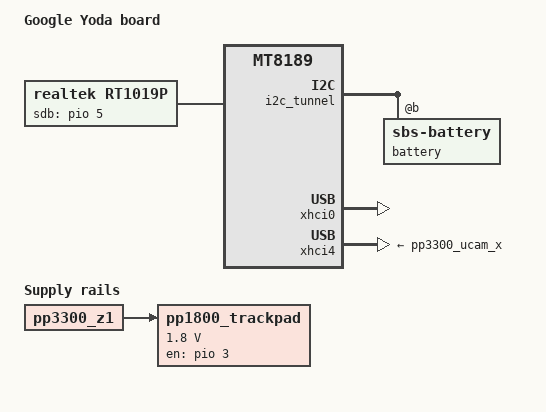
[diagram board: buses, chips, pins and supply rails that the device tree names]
// SPDX-License-Identifier: (GPL-2.0 OR MIT)
/*
 * Copyright (C) 2025 Google Inc.
 */
/dts-v1/;
#include "mt8189-skywalker.dtsi"

/ {
	model = "Google Yoda board";
	compatible = "google,yoda", "mediatek,mt8189";

	rt1019p: audio-codec {
		compatible = "realtek,rt1019p";
		label = "rt1019p";
		#sound-dai-cells = <0>;
		pinctrl-names = "default";
		pinctrl-0 = <&audio_spk_en_pins>;
		sdb-gpios = <&pio 5 GPIO_ACTIVE_HIGH>;
	};

	pp1800_trackpad: regulator-pp1800-trackpad {
		compatible = "regulator-fixed";
		regulator-name = "pp1800_trackpad";
		regulator-min-microvolt = <1800000>;
		regulator-max-microvolt = <1800000>;
		enable-active-high;
		gpio = <&pio 3 GPIO_ACTIVE_HIGH>;
		pinctrl-names = "default";
		pinctrl-0 = <&trackpad_pwr_pins>;
		vin-supply = <&pp3300_z1>;
	};
};

&ap_sar_sensor {
	semtech,ph0-pin = <1 3 3>;
	semtech,ph1-pin = <3 2 1>;
	semtech,ph2-pin = <3 3 1>;
	semtech,ph3-pin = <1 3 3>;
	semtech,ph01-resolution = <1024>;
	semtech,ph23-resolution = <1024>;
	semtech,input-analog-gain = <1>;
	semtech,startup-sensor = <1>;
	semtech,ph01-proxraw-strength = <3>;
	semtech,ph23-proxraw-strength = <2>;
	semtech,avg-pos-strength = <256>;
	semtech,int-comp-resistor = "lowest";
	semtech,input-precharge-resistor-ohms = <4000>;
	semtech,cs-idle-sleep = "hi-z";
};

&i2c_tunnel {
	battery: sbs-battery@b {
		sbs,i2c-retry-count = <10>;
		sbs,poll-retry-count = <10>;
	};
};

&keyboard_controller {
	keypad,num-columns = <18>;

	function-row-physmap = <
		MATRIX_KEY(0x00, 0x02, 0)		/* T1 */
		MATRIX_KEY(0x03, 0x02, 0)		/* T2 */
		MATRIX_KEY(0x02, 0x02, 0)		/* T3 */
		MATRIX_KEY(0x01, 0x02, 0)		/* T4 */
		MATRIX_KEY(0x04, 0x04, 0)		/* T5 */
		MATRIX_KEY(0x02, 0x04, 0)		/* T6 */
		MATRIX_KEY(0x01, 0x04, 0)		/* T7 */
		MATRIX_KEY(0x02, 0x0b, 0)		/* T8 */
		MATRIX_KEY(0x01, 0x09, 0)		/* T9 */
		MATRIX_KEY(0x00, 0x04, 0)		/* T10 */
		MATRIX_KEY(0x00, 0x01, 0)		/* T11 */
		MATRIX_KEY(0x01, 0x05, 0)		/* T12 */
		MATRIX_KEY(0x03, 0x05, 0)		/* T13 */
		MATRIX_KEY(0x00, 0x0b, 0)		/* T14 */
	>;

	linux,keymap = <
		CROS_TOP_ROW_KEYMAP_V30
		CROS_MAIN_KEYMAP_V30

		MATRIX_KEY(0x00, 0x02, KEY_BACK)		/* T1 */
		MATRIX_KEY(0x03, 0x02, KEY_REFRESH)		/* T2 */
		MATRIX_KEY(0x02, 0x02, KEY_ZOOM)		/* T3 */
		MATRIX_KEY(0x01, 0x02, KEY_SCALE)		/* T4 */
		MATRIX_KEY(0x04, 0x04, KEY_SYSRQ)		/* T5 */
		MATRIX_KEY(0x02, 0x04, KEY_BRIGHTNESSDOWN)	/* T6 */
		MATRIX_KEY(0x01, 0x04, KEY_BRIGHTNESSUP)	/* T7 */
		MATRIX_KEY(0x02, 0x0b, KEY_PLAYPAUSE)		/* T8 */
		MATRIX_KEY(0x01, 0x09, KEY_MICMUTE)		/* T9 */
		MATRIX_KEY(0x00, 0x04, KEY_MUTE)		/* T10 */
		MATRIX_KEY(0x00, 0x01, KEY_VOLUMEDOWN)		/* T11 */
		MATRIX_KEY(0x01, 0x05, KEY_VOLUMEUP)		/* T12 */
		MATRIX_KEY(0x03, 0x05, KEY_ACCESSIBILITY)	/* T13 */
		MATRIX_KEY(0x00, 0x0b, KEY_DICTATE)		/* T14 */
	>;
};

&dp_tx {
	phy-by-link-rate;
	phy-params = <0x221c1814 0x2725221c 0x00003028 0x0E080400 0x010B0600 0x00000008>;
	phy-params-hbr2 = <0x20181410 0x20241E18 0x00003028 0x10080400 0x000C0600 0x00000008>;
};

&i2c2 {
	/delete-node/ audio-codec@1a;
};

&sound {
	audio-routing = "I2SOUT1", "ETDMOUT_SPK_PIN",
			"I2SOUT0", "ETDMIN_HP_PIN",
			"I2SOUT0", "ETDMOUT_HP_PIN",
			"I2SIN0", "ETDMIN_HP_PIN",
			"I2SIN0", "ETDMOUT_HP_PIN",
			"PCM 0 Playback", "ETDMOUT_HDMI_PIN",
			"AP DMIC Capture", "AP_DMIC0_PIN",
			"AP DMIC CH34 Capture", "AP_DMIC1_PIN";

	dai-link-0 {
		link-name = "I2SOUT1_BE";
		mediatek,clk-provider = "cpu";

		codec {
			sound-dai = <&rt1019p>;
		};
	};

	/delete-node/ dai-link-1;
	/delete-node/ dai-link-2;

	dai-link-3 {
		link-name = "TDM_DPTX_BE";

		codec {
			sound-dai = <&dp_tx>;
		};
	};
};

&pio{
	trackpad_pwr_pins: trackpad-pwr-pins {
		pins-pwr {
			pinmux = <PINMUX_GPIO3__FUNC_GPIO3>;
			output-low;
		};
	};
};

&pp3300_edp_x {
	/delete-property/ regulator-boot-on;
};

&ap_i2c_tchpad  {
	/delete-node/ trackpad@15;

	trackpad_elan: trackpad@15 {
		compatible = "elan,ekth3000";
		reg = <0x15>;
		interrupts-extended = <&pio 125 IRQ_TYPE_LEVEL_LOW>;
		pinctrl-names = "default";
		pinctrl-0 = <&trackpad_pins>;
		wakeup-source;
		vcc-supply = <&pp3300_s3>;
		status = "fail-needs-probe";
	};

	trackpad_goodix: trackpad@2c {
		compatible = "hid-over-i2c";
		reg = <0x2c>;
		interrupts-extended = <&pio 125 IRQ_TYPE_LEVEL_LOW>;
		pinctrl-names = "default";
		pinctrl-0 = <&trackpad_pins>;
		wakeup-source;
		/*
		 * The power supply V3.3 and V1.8 for touchpads on
		 * yoda are controlled by HW and always on for now.
		 * The delay is no needed and commentted in dts.
		 */
		/* post-power-on-delay-ms = <10>; */
		hid-descr-addr = <0x0020>;
		vdd-supply = <&pp3300_s3>;
		status = "fail-needs-probe";
	};

	trackpad_focal: trackpad@38 {
		compatible = "hid-over-i2c";
		reg = <0x38>;
		interrupts-extended = <&pio 125 IRQ_TYPE_LEVEL_LOW>;
		pinctrl-names = "default";
		pinctrl-0 = <&trackpad_pins>;
		wakeup-source;
		/*
		 * The power supply V3.3 and V1.8 for touchpads on
		 * yoda are controlled by HW and always on for now.
		 * The delay is no needed and commentted in dts.
		 */
		/* post-power-on-delay-ms = <40>; */
		hid-descr-addr = <0x0020>;
		vdd-supply = <&pp3300_s3>;
		status = "fail-needs-probe";
	};
};

&ap_i2c_tchscr {
	/delete-node/ touchscreen@41;

	/* elan touchscreen */
	touchscreen@10 {
		compatible = "elan,ekth6a12nay";
		reg = <0x10>;
		interrupts-extended = <&pio 15 IRQ_TYPE_LEVEL_LOW>;
		pinctrl-names = "default";
		pinctrl-0 = <&touchscreen_pins>;
		reset-gpios = <&pio 126 GPIO_ACTIVE_LOW>;
		vcc33-supply = <&pp3300_tchscr_x>;
		vccio-supply = <&pp1800_tchscr_report_disable>;
		status = "fail-needs-probe";
	};

	/* goodix touchscreen */
	touchscreen@5d {
		compatible = "goodix,gt7986u", "goodix,gt7375p";
		reg = <0x5d>;
		interrupts-extended = <&pio 15 IRQ_TYPE_LEVEL_LOW>;
		pinctrl-names = "default";
		pinctrl-0 = <&touchscreen_pins>;
		reset-gpios = <&pio 126 GPIO_ACTIVE_LOW>;
		vdd-supply = <&pp3300_tchscr_x>;
		status = "fail-needs-probe";
	};
};

&ap_i2c_sar {
	status = "disabled";
};

&target {
	temperature = <90000>;
};

&u2port0 {
	mediatek,pre-emphasis = <1>;
};

&u2port2 {
	mediatek,pre-emphasis = <2>;
};

/* USB hub port 1 */
&usb_hub_dsp1_hs {
	remote-endpoint = <&usb_a0_hs>;
};

&usb_a0_hs {
	remote-endpoint = <&usb_hub_dsp1_hs>;
};

&usb_hub_dsp1_ss {
	remote-endpoint = <&usb_a0_ss>;
};

&usb_a0_ss {
	remote-endpoint = <&usb_hub_dsp1_ss>;
};

/* USB hub port 2 */
&usb_hub_dsp2_hs {
	remote-endpoint = <&usb_c0_hs>;
};

&usb_c0_hs {
	remote-endpoint = <&usb_hub_dsp2_hs>;
};

&usb_hub_dsp2_ss {
	remote-endpoint = <&usb_c0_ss>;
};

&usb_c0_ss {
	remote-endpoint = <&usb_hub_dsp2_ss>;
};

/* USB hub port 3 */
&usb_hub_dsp3_hs {
	remote-endpoint = <&usb_c1_hs>;
};

&usb_c1_hs {
	remote-endpoint = <&usb_hub_dsp3_hs>;
};

&usb_hub_dsp3_ss {
	remote-endpoint = <&usb_c1_ss>;
};

&usb_c1_ss {
	remote-endpoint = <&usb_hub_dsp3_ss>;
};

/* USB hub port 4 */
&usb_hub_dsp4_hs {
	remote-endpoint = <&usb_a1_hs>;
};

&usb_a1_hs {
	remote-endpoint = <&usb_hub_dsp4_hs>;
};

&usb_hub_dsp4_ss {
	remote-endpoint = <&usb_a1_ss>;
};

&usb_a1_ss {
	remote-endpoint = <&usb_hub_dsp4_ss>;
};

&xhci0 {
	status = "okay";
};

&xhci2 {
	/delete-property/ vbus-supply;
	pinctrl-names = "default";
	pinctrl-0 = <&bt_pins>;
};

&xhci4 {
	/delete-property/ pinctrl-names;
	/delete-property/ pinctrl-0;
	vbus-supply = <&pp3300_ucam_x>;
};
